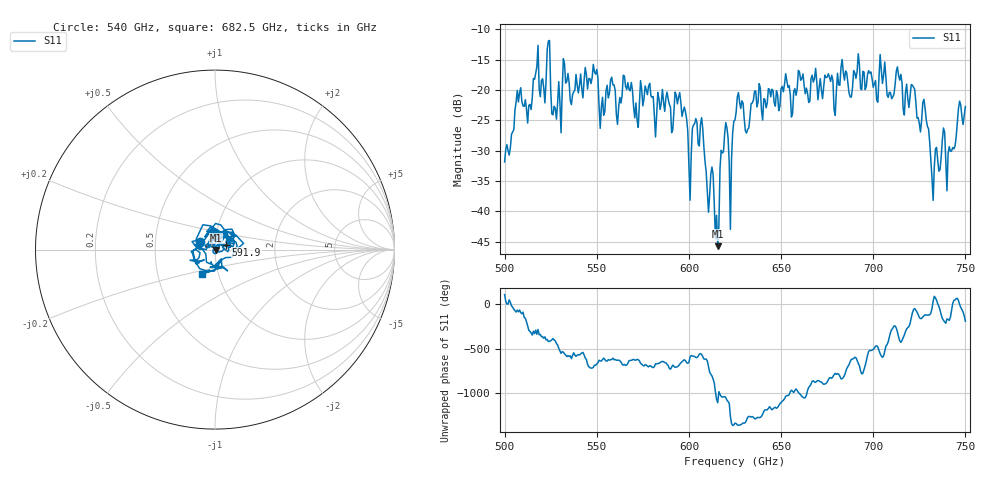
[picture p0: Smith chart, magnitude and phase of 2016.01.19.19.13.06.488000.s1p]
!Created with skrf (http://scikit-rf.org).
# GHz S RI R 50.0
!freq ReS11 ImS11
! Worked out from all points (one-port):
!   401 points, 500 GHz to 750 GHz, reference 50 ohm
!   lowest |S11| = -45.7 dB at 615.6 GHz (marker M1), VSWR 1.01, Z = 50.5 - j0.232 ohm
!   |S11| at or under -10 dB: start of sweep to end of sweep
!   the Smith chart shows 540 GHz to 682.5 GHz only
!   S11 on the Smith chart (normalised r, x): 540 GHz: 0.84, +0.07; 591.9 GHz: 1.13, +0.06; 682.5 GHz: 0.84, -0.23
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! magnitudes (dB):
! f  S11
! 500 GHz  -31.8
! 516.9 GHz  -17.2
! 520.6 GHz  -18.1
! 523.8 GHz  -11.9
! 526.9 GHz  -22.7
! 531.2 GHz  -20.0
! 540 GHz  -20.5
! 562.5 GHz  -21.2
! 565.6 GHz  -19.4
! 571.2 GHz  -22.1
! 591.9 GHz  -23.5
! 593.8 GHz  -22.3
! 600.6 GHz  -38.2
! 603.1 GHz  -25.5
! 607.5 GHz  -26.3
! 610 GHz  -36.8
! 615.6 GHz  -45.7
! 618.8 GHz  -30.2
! 622.5 GHz  -43.0
! 625 GHz  -24.9
! 656.2 GHz  -23.8
! 682.5 GHz  -16.3
! 687.5 GHz  -21.1
! 705 GHz  -18.9
! 718.8 GHz  -21.4
! 728.1 GHz  -23.0
! 732.5 GHz  -38.2
! 750 GHz  -22.7
